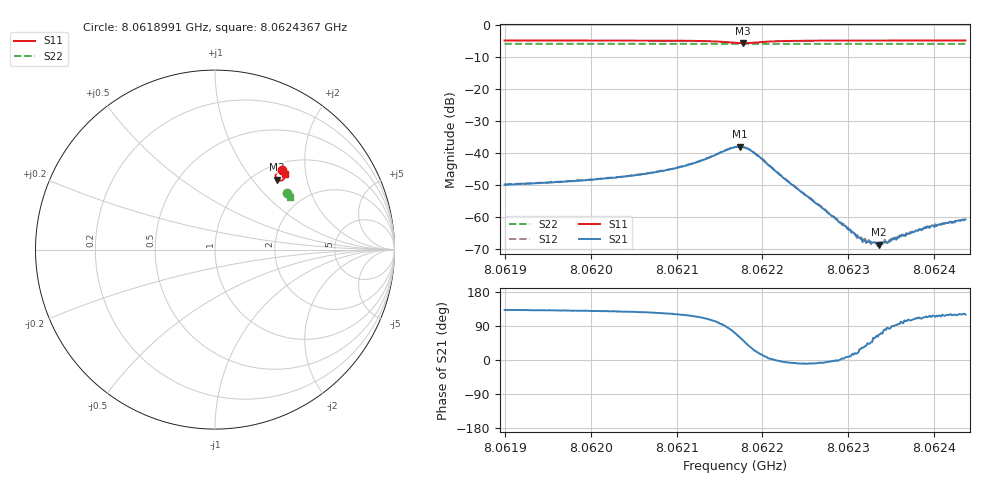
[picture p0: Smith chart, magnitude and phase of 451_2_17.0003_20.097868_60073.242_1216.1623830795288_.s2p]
#  HZ  S  RI  R  50.00
! Rohde & Schwarz Vector Network Analyzer
! Rohde-Schwarz,ZNB20-2Port,1311601062101988,3.16
! Created: UTC 3/20/2024, 11:12:16 PM
! freq[Hz]  re:S11  im:S11  re:S21  im:S21  re:S12  im:S12  re:S22  im:S22
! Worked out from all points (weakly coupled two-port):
!   401 points, 8.0618991 GHz to 8.0624367 GHz, reference 50 ohm
!   highest |S21| = -38.04 dB at 8.0621733 GHz (marker M1); lowest = -68.7 dB at 8.0623359 GHz (marker M2)
!   lowest |S11| = -5.6 dB at 8.0621773 GHz (marker M3), VSWR 3.18, Z = 62.7 + j67.3 ohm
!   |S11| at or under -10 dB: nowhere
!   |S22| runs from -5.9 to -5.8 dB; largest |S21 - S12| = 0.00085
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8.06189912e9  0.3705 0.4412  -0.00216 0.00239  -0.00202 0.00254  0.3998 0.3173
8.06198917e9  0.3771 0.4351  -0.0024 0.00284  -0.00222 0.00305  0.4032 0.3127
8.06203487e9  0.3809 0.431  -0.00258 0.00331  -0.00242 0.0035  0.4049 0.3102
8.06207922e9  0.3851 0.4249  -0.00288 0.00427  -0.00265 0.00444  0.4064 0.308
8.06211954e9  0.3889 0.4143  -0.00299 0.00625  -0.00265 0.00648  0.408 0.3055
8.06216792e9  0.3633 0.384  0.00398 0.0118  0.00468 0.0115  0.4079 0.3021
8.0621733e9  0.3532 0.386  0.00615 0.0109  0.00685 0.0106  0.4076 0.3021
8.06217733e9  0.3462 0.3906  0.00763 0.00958  0.00836 0.00921  0.4076 0.3023
8.0621854e9  0.3382 0.4041  0.00911 0.00631  0.00962 0.00589  0.4078 0.3027
8.06219749e9  0.3412 0.4227  0.00809 0.00229  0.0083 0.0018  0.4085 0.3029
8.06223109e9  0.3624 0.4356  0.00344 -0.000428  0.00343 -0.000633  0.4107 0.3014
8.06225797e9  0.3714 0.4347  0.00179 -0.000281  0.00183 -0.00041  0.4122 0.3
8.0623077e9  0.38 0.431  0.000515 0.000168  0.000527 0.000143  0.4142 0.2974
8.06231442e9  0.381 0.4305  0.000402 0.00022  0.000431 0.000217  0.4143 0.2969
8.0623198e9  0.3816 0.4302  0.000333 0.000246  0.000389 0.00024  0.4144 0.2967
8.06232114e9  0.3818 0.4301  0.000324 0.000255  0.000326 0.000194  0.4145 0.2967
8.06233593e9  0.3835 0.4291  0.000141 0.000339  0.000162 0.000369  0.415 0.2959
8.06234802e9  0.3845 0.4281  5.63e-05 0.000427  5.49e-05 0.000388  0.4155 0.2953
8.06236012e9  0.3857 0.4273  -4.69e-05 0.000494  -3.22e-05 0.000517  0.4158 0.2946
8.06238566e9  0.3879 0.4258  -0.000208 0.000602  -0.000189 0.00059  0.4167 0.2932
8.06239238e9  0.3885 0.4254  -0.000267 0.000634  -0.000221 0.000681  0.4172 0.2929
8.06243673e9  0.3916 0.4226  -0.000453 0.000794  -0.000451 0.000786  0.4186 0.2906
